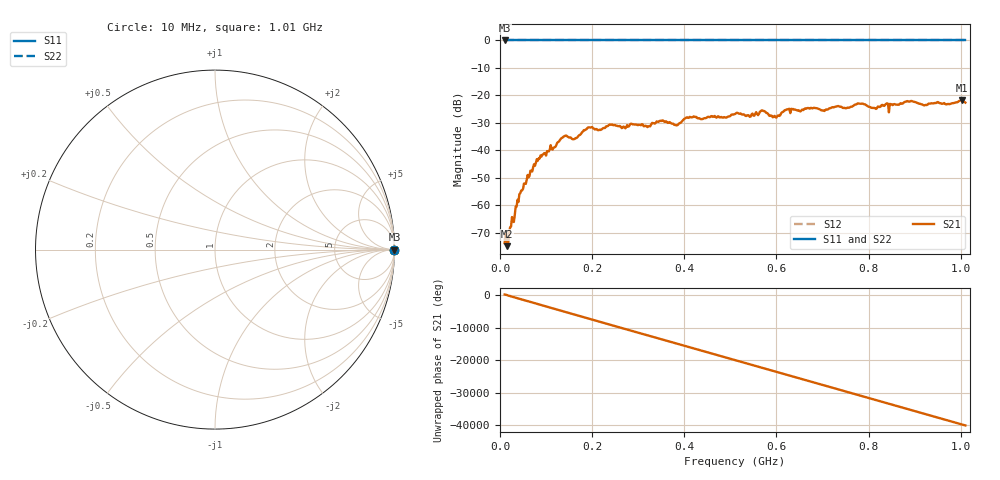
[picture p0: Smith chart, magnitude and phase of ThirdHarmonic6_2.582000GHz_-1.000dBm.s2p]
! 8/17/2025 5:28:34 AM
! C:\ANRITSUVNA\TEMP\TEMP.S2P
! CHANNEL.1
! TR.MEASUREMENT
! RAW.DATA
! RF.CORRECTION.OFF
! AVERAGING.OFF
! IF.BANDWIDTH: 5KHZ
! SWEEPTYPE:  FREQ.SWEEP(Linear)
! Reference Plane Port Info
! PORT:  PORT1  PORT2
! DISTANCE:  0  m  0  m
! TIME:  0  s  0  s
! PHASE.OFFSET:  0  deg.  0  deg.
! LOSS:  0  dB  0  dB
! REF.LOSS:  0  dB  0  dB
! REF.FREQ:  0  Hz  0  Hz
! Power Info
! POWER:  -20  dBm  -20  dBm
! EFF.POWER:  -20  dBm  -20  dBm
! SOURCE.ATTEN:  0  dB  0  dB
! TEST.ATTEN:  0  dB  0  dB
# GHZ S RI R 50.0
! FREQ.GHZ  S11RE  S11IM  S21RE  S21IM  S12RE  S12IM  S22RE  S22IM
!; PortSelection: Port_12
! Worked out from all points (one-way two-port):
!   501 points, 10 MHz to 1.01 GHz, reference 50 ohm
!   highest |S21| = -21.67 dB at 1.002 GHz (marker M1); lowest = -74.8 dB at 16 MHz (marker M2)
!   lowest |S11| = 0.0 dB at 10 MHz (marker M3)
!   |S11| at or under -10 dB: nowhere
!   |S22| runs from 0.0 to 0.0 dB; largest |S21 - S12| = 1.1
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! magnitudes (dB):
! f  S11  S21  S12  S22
! 10 MHz  0.0  -73.7  0.0  0.0
! 16 MHz  0.0  -74.8  0.0  0.0
! 20 MHz  0.0  -70.1  0.0  0.0
! 42 MHz  0.0  -55.9  0.0  0.0
! 84 MHz  0.0  -42.9  0.0  0.0
! 138 MHz  0.0  -34.9  0.0  0.0
! 162 MHz  0.0  -35.8  0.0  0.0
! 178 MHz  0.0  -33.4  0.0  0.0
! 196 MHz  0.0  -31.7  0.0  0.0
! 322 MHz  0.0  -31.2  0.0  0.0
! 344 MHz  0.0  -29.6  0.0  0.0
! 382 MHz  0.0  -30.8  0.0  0.0
! 408 MHz  0.0  -28.2  0.0  0.0
! 510 MHz  0.0  -26.7  0.0  0.0
! 540 MHz  0.0  -27.3  0.0  0.0
! 570 MHz  0.0  -25.5  0.0  0.0
! 596 MHz  0.0  -27.4  0.0  0.0
! 624 MHz  0.0  -25.0  0.0  0.0
! 678 MHz  0.0  -24.7  0.0  0.0
! 844 MHz  0.0  -26.1  0.0  0.0
! 1.002 GHz  0.0  -21.7  0.0  0.0
! 1.01 GHz  0.0  -22.6  0.0  0.0
